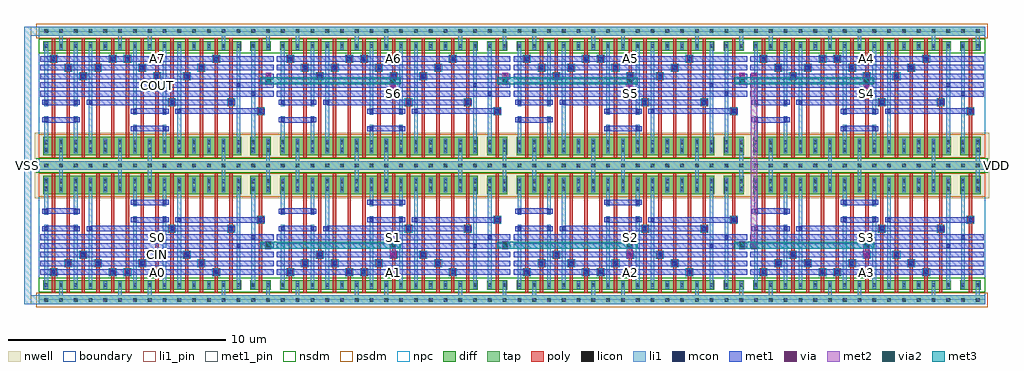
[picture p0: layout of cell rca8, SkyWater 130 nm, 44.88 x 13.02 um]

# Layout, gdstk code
import gdstk
lib = gdstk.Library(unit=1e-6, precision=1e-09)
def R(c, l, rs):  # rectangles x0, y0, x1, y1
    for r in rs: c.add(gdstk.rectangle(r[:2], r[2:], *l))
def A(c, l, x, y, w, h, nx, ny, dx, dy):  # array of equal rectangles
    R(c, l, [(x+i*dx, y+j*dy, x+i*dx+w, y+j*dy+h) for i in range(nx) for j in range(ny)])
nwell = (64, 20)
diff = (65, 20)
tap = (65, 44)
poly = (66, 20)
licon = (66, 44)
li1_pin = (67, 16)
li1 = (67, 20)
mcon = (67, 44)
met1_pin = (68, 16)
met1 = (68, 20)
via = (68, 44)
met2 = (69, 20)
via2 = (69, 44)
met3 = (70, 20)
nsdm = (93, 44)
psdm = (94, 20)
npc = (95, 20)
boundary = (235, 4)

c_fa = lib.new_cell('fa')
R(c_fa, nwell, [(-0.18,4.685,11.06,6.565)])
R(c_fa, diff, [(0.215,0.475,9.305,0.895), (9.735,0.475,10.665,0.895), (0.215,4.865,9.305,5.705), (9.735,4.865,10.665,5.705)])
R(c_fa, tap, [(0,-0.205,10.88,0.205), (0,5.975,10.88,6.385)])
A(c_fa, poly, 0.605, 0.345, 0.15, 0.68, 13, 1, 0.68, 0)
A(c_fa, poly, 0.605, 1.025, 0.15, 3.71, 13, 1, 0.68, 0)
A(c_fa, poly, 0.605, 4.735, 0.15, 1.1, 13, 1, 0.68, 0)
R(c_fa, poly, [(10.125,0.345,10.275,1.025), (10.125,1.025,10.275,4.735), (0.545,1.115,0.815,1.445), (3.265,1.115,3.535,1.445), (3.945,1.115,4.215,1.445), (8.025,1.115,8.295,1.445), (1.225,1.515,1.495,1.845), (2.585,1.515,2.855,1.845), (4.625,1.515,4.895,1.845), (7.345,1.515,7.615,1.845), (1.905,1.915,2.175,2.245), (5.305,1.915,5.575,2.245), (6.665,1.915,6.935,2.245), (5.985,3.115,6.255,3.445), (8.705,3.115,8.975,3.445), (10.065,3.515,10.335,3.845), (10.125,4.735,10.275,5.835)])
A(c_fa, licon, 0.255, -0.085, 0.17, 0.17, 16, 2, 0.68, 0.685)
A(c_fa, licon, 0.255, 5.03, 0.17, 0.17, 16, 2, 0.68, 0.34)
A(c_fa, licon, 0.255, 6.095, 0.17, 0.17, 16, 1, 0.68, 0)
R(c_fa, licon, [(0.595,1.195,0.765,1.365), (3.315,1.195,3.485,1.365), (3.995,1.195,4.165,1.365), (8.075,1.195,8.245,1.365), (1.275,1.595,1.445,1.765), (2.635,1.595,2.805,1.765), (4.675,1.595,4.845,1.765), (7.395,1.595,7.565,1.765), (1.955,1.995,2.125,2.165), (5.355,1.995,5.525,2.165), (6.715,1.995,6.885,2.165), (6.035,3.195,6.205,3.365), (8.755,3.195,8.925,3.365), (10.115,3.595,10.285,3.765)])
R(c_fa, li1_pin, [(0,-0.205,10.88,0.205), (0,5.975,10.88,6.385)])
A(c_fa, li1, 0.255, 0.52, 0.17, 0.33, 16, 1, 0.68, 0)
A(c_fa, li1, 0.255, 4.95, 0.17, 0.67, 16, 1, 0.68, 0)
R(c_fa, li1, [(0,-0.205,10.88,0.205), (0.935,0,1.105,0.52), (3.655,0,3.825,0.52), (5.015,0,5.185,0.52), (8.415,0,8.585,0.52), (10.455,0,10.625,0.52), (0.255,0.85,0.425,3.28), (1.615,0.85,1.785,3.28), (2.295,0.85,2.465,3.28), (4.335,0.85,4.505,3.68), (5.695,0.85,5.865,3.68), (6.375,0.85,6.545,3.68), (9.095,0.85,9.265,2.48), (9.775,0.85,9.945,2.88), (0.595,1.115,0.765,1.445), (3.315,1.115,3.485,1.445), (3.995,1.115,4.165,1.445), (8.075,1.115,8.245,1.445), (1.275,1.515,1.445,1.845), (2.635,1.515,2.805,1.845), (4.675,1.515,4.845,1.845), (7.395,1.515,7.565,1.845), (1.955,1.915,2.125,2.245), (5.355,1.915,5.525,2.245), (6.715,1.915,6.885,2.245), (9.095,2.315,9.265,2.645), (9.095,2.315,9.265,2.645), (9.095,2.48,9.265,4.95), (9.775,2.715,9.945,3.045), (9.775,2.715,9.945,3.045), (9.775,2.88,9.945,4.95), (0.255,3.115,0.425,3.445), (1.615,3.115,1.785,3.445), (2.295,3.115,2.465,3.445), (2.295,3.115,2.465,3.445), (6.035,3.115,6.205,3.445), (8.755,3.115,8.925,3.445), (2.295,3.28,2.465,4.95), (4.335,3.515,4.505,3.845), (5.695,3.515,5.865,3.845), (6.375,3.515,6.545,3.845), (6.375,3.515,6.545,3.845), (10.115,3.515,10.285,3.845), (6.375,3.68,6.545,4.95), (0.255,3.915,0.425,4.245), (1.615,3.915,1.785,4.245), (0.255,4.08,0.425,4.95), (1.615,4.08,1.785,4.95), (4.335,4.315,4.505,4.645), (5.695,4.315,5.865,4.645), (4.335,4.48,4.505,4.95), (5.695,4.48,5.865,4.95), (0.935,5.62,1.105,6.18), (3.655,5.62,3.825,6.18), (5.015,5.62,5.185,6.18), (8.415,5.62,8.585,6.18), (10.455,5.62,10.625,6.18), (0,5.975,10.88,6.385)])
R(c_fa, mcon, [(0.595,1.195,0.765,1.365), (3.315,1.195,3.485,1.365), (3.995,1.195,4.165,1.365), (8.075,1.195,8.245,1.365), (1.275,1.595,1.445,1.765), (2.635,1.595,2.805,1.765), (4.675,1.595,4.845,1.765), (7.395,1.595,7.565,1.765), (1.955,1.995,2.125,2.165), (5.355,1.995,5.525,2.165), (6.715,1.995,6.885,2.165), (9.095,2.395,9.265,2.565), (9.095,2.395,9.265,2.565), (9.775,2.795,9.945,2.965), (9.775,2.795,9.945,2.965), (0.255,3.195,0.425,3.365), (1.615,3.195,1.785,3.365), (2.295,3.195,2.465,3.365), (2.295,3.195,2.465,3.365), (6.035,3.195,6.205,3.365), (8.755,3.195,8.925,3.365), (4.335,3.595,4.505,3.765), (5.695,3.595,5.865,3.765), (6.375,3.595,6.545,3.765), (6.375,3.595,6.545,3.765), (10.115,3.595,10.285,3.765), (0.255,3.995,0.425,4.165), (1.615,3.995,1.785,4.165), (4.335,4.395,4.505,4.565), (5.695,4.395,5.865,4.565)])
A(c_fa, met1_pin, 0.07, 1.15, 10.74, 0.26, 1, 5, 0, 0.4)
A(c_fa, met1, 0.07, 1.15, 10.74, 0.26, 1, 5, 0, 0.4)
R(c_fa, met1, [(0.495,1.165,0.865,1.395), (3.215,1.165,3.585,1.395), (3.895,1.165,4.265,1.395), (7.975,1.165,8.345,1.395), (1.175,1.565,1.545,1.795), (2.535,1.565,2.905,1.795), (4.575,1.565,4.945,1.795), (7.295,1.565,7.665,1.795), (1.855,1.965,2.225,2.195), (5.255,1.965,5.625,2.195), (6.615,1.965,6.985,2.195), (8.995,2.365,9.365,2.595), (8.995,2.365,9.365,2.595), (9.675,2.765,10.045,2.995), (9.675,2.765,10.045,2.995), (0.34,3.15,1.7,3.41), (2.38,3.15,8.84,3.41), (0.155,3.165,0.525,3.395), (1.515,3.165,1.885,3.395), (2.195,3.165,2.565,3.395), (2.195,3.165,2.565,3.395), (5.935,3.165,6.305,3.395), (8.655,3.165,9.025,3.395), (4.42,3.55,5.78,3.81), (6.46,3.55,10.2,3.81), (4.235,3.565,4.605,3.795), (5.595,3.565,5.965,3.795), (6.275,3.565,6.645,3.795), (6.275,3.565,6.645,3.795), (10.015,3.565,10.385,3.795), (0.34,3.95,1.7,4.21), (0.155,3.965,0.525,4.195), (1.515,3.965,1.885,4.195), (4.42,4.35,5.78,4.61), (4.235,4.365,4.605,4.595), (5.595,4.365,5.965,4.595)])
R(c_fa, nsdm, [(0,0.35,10.88,1.02), (-0.125,5.85,11.005,6.51)])
R(c_fa, psdm, [(-0.125,-0.33,11.005,0.33), (0,4.74,10.88,5.83)])
R(c_fa, npc, [(0.495,1.095,0.865,1.465), (3.215,1.095,3.585,1.465), (3.895,1.095,4.265,1.465), (7.975,1.095,8.345,1.465), (1.175,1.495,1.545,1.865), (2.535,1.495,2.905,1.865), (4.575,1.495,4.945,1.865), (7.295,1.495,7.665,1.865), (1.855,1.895,2.225,2.265), (5.255,1.895,5.625,2.265), (6.615,1.895,6.985,2.265), (5.935,3.095,6.305,3.465), (8.655,3.095,9.025,3.465), (10.015,3.495,10.385,3.865)])
R(c_fa, boundary, [(0,0,10.88,6.18)])
c_fa.add(gdstk.Label('VSS', (5.44,0), layer=67, texttype=16))
c_fa.add(gdstk.Label('VDD', (5.44,6.18), layer=67, texttype=16))
c_fa.add(gdstk.Label('VSS', (5.44,0), layer=67, texttype=5))
c_fa.add(gdstk.Label('VDD', (5.44,6.18), layer=67, texttype=5))
c_fa.add(gdstk.Label('COUT', (5.44,2.48), layer=68, texttype=16))
c_fa.add(gdstk.Label('SUM', (5.44,2.88), layer=68, texttype=16))
c_fa.add(gdstk.Label('A', (5.44,1.28), layer=68, texttype=16))
c_fa.add(gdstk.Label('B', (5.44,1.68), layer=68, texttype=16))
c_fa.add(gdstk.Label('CIN', (5.44,2.08), layer=68, texttype=16))
c_fa.add(gdstk.Label('COUT', (5.44,2.48), layer=68, texttype=5))
c_fa.add(gdstk.Label('SUM', (5.44,2.88), layer=68, texttype=5))
c_fa.add(gdstk.Label('A', (5.44,1.28), layer=68, texttype=5))
c_fa.add(gdstk.Label('B', (5.44,1.68), layer=68, texttype=5))
c_fa.add(gdstk.Label('CIN', (5.44,2.08), layer=68, texttype=5))

rca8 = lib.new_cell('rca8')
R(rca8, li1_pin, [(-0.68,-0.205,-0.34,12.565), (43.86,5.975,44.2,6.385)])
R(rca8, li1, [(-0.68,-0.205,-0.34,12.565), (-0.68,-0.205,0,0.205), (43.52,5.975,44.2,6.385), (43.86,5.975,44.2,6.385), (-0.68,12.155,0,12.565)])
A(rca8, met1_pin, 0.07, 1.15, 10.74, 0.26, 4, 2, 10.88, 0.4)
A(rca8, met1_pin, 0.07, 2.75, 10.74, 0.26, 4, 2, 10.88, 6.6)
A(rca8, met1_pin, 0.07, 10.55, 10.74, 0.26, 4, 2, 10.88, 0.4)
R(rca8, met1_pin, [(0.07,1.95,10.81,2.21), (0.07,9.75,10.81,10.01)])
A(rca8, met1, 16.12, 1.95, 0.32, 0.26, 3, 2, 10.89, 7.8)
A(rca8, met1, 10.4, 2.35, 0.32, 0.26, 3, 2, 10.89, 7.8)
R(rca8, met1, [(32.73,2.35,33.05,2.61), (32.73,10.15,33.05,10.41)])
A(rca8, via, 16.205, 2.005, 0.15, 0.15, 3, 2, 10.89, 7.8)
A(rca8, via, 10.485, 2.405, 0.15, 0.15, 3, 2, 10.89, 7.8)
R(rca8, via, [(32.815,2.405,32.965,2.555), (32.815,10.205,32.965,10.355)])
A(rca8, met2, 16.15, 1.92, 0.26, 0.32, 3, 2, 10.89, 7.8)
A(rca8, met2, 16.14, 2.08, 0.28, 0.44, 3, 1, 10.89, 0)
A(rca8, met2, 10.43, 2.32, 0.26, 0.32, 3, 2, 10.89, 7.8)
A(rca8, met2, 10.42, 2.48, 0.28, 0.04, 3, 1, 10.89, 0)
A(rca8, met2, 16.14, 9.88, 0.28, 0.2, 3, 1, 10.89, 0)
A(rca8, met2, 10.42, 10.08, 0.28, 0.2, 3, 1, 10.89, 0)
R(rca8, met2, [(32.76,2.32,33.02,2.64), (10.42,2.335,10.7,2.705), (16.14,2.335,16.42,2.705), (21.31,2.335,21.59,2.705), (27.03,2.335,27.31,2.705), (32.2,2.335,32.48,2.705), (37.92,2.335,38.2,2.705), (32.75,2.48,33.03,10.28), (10.42,9.895,10.7,10.265), (16.14,9.895,16.42,10.265), (21.31,9.895,21.59,10.265), (27.03,9.895,27.31,10.265), (32.2,9.895,32.48,10.265), (37.92,9.895,38.2,10.265), (32.76,10.12,33.02,10.44)])
R(rca8, via2, [(10.46,2.42,10.66,2.62), (16.18,2.42,16.38,2.62), (21.35,2.42,21.55,2.62), (27.07,2.42,27.27,2.62), (32.24,2.42,32.44,2.62), (37.96,2.42,38.16,2.62), (10.46,9.98,10.66,10.18), (16.18,9.98,16.38,10.18), (21.35,9.98,21.55,10.18), (27.07,9.98,27.27,10.18), (32.24,9.98,32.44,10.18), (37.96,9.98,38.16,10.18)])
A(rca8, met3, 10.56, 2.355, 5.72, 0.33, 3, 2, 10.89, 7.56)
R(rca8, met3, [(10.195,2.355,10.925,2.685), (15.915,2.355,16.645,2.685), (21.085,2.355,21.815,2.685), (26.805,2.355,27.535,2.685), (31.975,2.355,32.705,2.685), (37.695,2.355,38.425,2.685), (10.195,9.915,10.925,10.245), (15.915,9.915,16.645,10.245), (21.085,9.915,21.815,10.245), (26.805,9.915,27.535,10.245), (31.975,9.915,32.705,10.245), (37.695,9.915,38.425,10.245)])
rca8.add(gdstk.Reference(c_fa, (0,0)))
rca8.add(gdstk.Reference(c_fa, (10.88,0)))
rca8.add(gdstk.Reference(c_fa, (21.76,0)))
rca8.add(gdstk.Reference(c_fa, (32.64,0)))
rca8.add(gdstk.Reference(c_fa, (0,12.36), x_reflection=True))
rca8.add(gdstk.Reference(c_fa, (10.88,12.36), x_reflection=True))
rca8.add(gdstk.Reference(c_fa, (21.76,12.36), x_reflection=True))
rca8.add(gdstk.Reference(c_fa, (32.64,12.36), x_reflection=True))
rca8.add(gdstk.Label('VSS', (-0.51,6.18), layer=67, texttype=16))
rca8.add(gdstk.Label('VDD', (44.03,6.18), layer=67, texttype=16))
rca8.add(gdstk.Label('VSS', (-0.51,6.18), layer=67, texttype=5))
rca8.add(gdstk.Label('VDD', (44.03,6.18), layer=67, texttype=5))
rca8.add(gdstk.Label('A0', (5.44,1.28), layer=68, texttype=16))
rca8.add(gdstk.Label('A1', (16.32,1.28), layer=68, texttype=16))
rca8.add(gdstk.Label('A2', (27.2,1.28), layer=68, texttype=16))
rca8.add(gdstk.Label('A3', (38.08,1.28), layer=68, texttype=16))
rca8.add(gdstk.Label('A4', (38.08,11.08), layer=68, texttype=16))
rca8.add(gdstk.Label('A5', (27.2,11.08), layer=68, texttype=16))
rca8.add(gdstk.Label('A6', (16.32,11.08), layer=68, texttype=16))
rca8.add(gdstk.Label('A7', (5.44,11.08), layer=68, texttype=16))
rca8.add(gdstk.Label('B0', (5.44,1.68), layer=68, texttype=16))
rca8.add(gdstk.Label('B1', (16.32,1.68), layer=68, texttype=16))
rca8.add(gdstk.Label('B2', (27.2,1.68), layer=68, texttype=16))
rca8.add(gdstk.Label('B3', (38.08,1.68), layer=68, texttype=16))
rca8.add(gdstk.Label('B4', (38.08,10.68), layer=68, texttype=16))
rca8.add(gdstk.Label('B5', (27.2,10.68), layer=68, texttype=16))
rca8.add(gdstk.Label('B6', (16.32,10.68), layer=68, texttype=16))
rca8.add(gdstk.Label('B7', (5.44,10.68), layer=68, texttype=16))
rca8.add(gdstk.Label('CIN', (5.44,2.08), layer=68, texttype=16))
rca8.add(gdstk.Label('COUT', (5.44,9.88), layer=68, texttype=16))
rca8.add(gdstk.Label('S0', (5.44,2.88), layer=68, texttype=16))
rca8.add(gdstk.Label('S1', (16.32,2.88), layer=68, texttype=16))
rca8.add(gdstk.Label('S2', (27.2,2.88), layer=68, texttype=16))
rca8.add(gdstk.Label('S3', (38.08,2.88), layer=68, texttype=16))
rca8.add(gdstk.Label('S4', (38.08,9.48), layer=68, texttype=16))
rca8.add(gdstk.Label('S5', (27.2,9.48), layer=68, texttype=16))
rca8.add(gdstk.Label('S6', (16.32,9.48), layer=68, texttype=16))
rca8.add(gdstk.Label('S7', (5.44,9.48), layer=68, texttype=16))
rca8.add(gdstk.Label('A0', (5.44,1.28), layer=68, texttype=5))
rca8.add(gdstk.Label('A1', (16.32,1.28), layer=68, texttype=5))
rca8.add(gdstk.Label('A2', (27.2,1.28), layer=68, texttype=5))
rca8.add(gdstk.Label('A3', (38.08,1.28), layer=68, texttype=5))
rca8.add(gdstk.Label('A4', (38.08,11.08), layer=68, texttype=5))
rca8.add(gdstk.Label('A5', (27.2,11.08), layer=68, texttype=5))
rca8.add(gdstk.Label('A6', (16.32,11.08), layer=68, texttype=5))
rca8.add(gdstk.Label('A7', (5.44,11.08), layer=68, texttype=5))
rca8.add(gdstk.Label('B0', (5.44,1.68), layer=68, texttype=5))
rca8.add(gdstk.Label('B1', (16.32,1.68), layer=68, texttype=5))
rca8.add(gdstk.Label('B2', (27.2,1.68), layer=68, texttype=5))
rca8.add(gdstk.Label('B3', (38.08,1.68), layer=68, texttype=5))
rca8.add(gdstk.Label('B4', (38.08,10.68), layer=68, texttype=5))
rca8.add(gdstk.Label('B5', (27.2,10.68), layer=68, texttype=5))
rca8.add(gdstk.Label('B6', (16.32,10.68), layer=68, texttype=5))
rca8.add(gdstk.Label('B7', (5.44,10.68), layer=68, texttype=5))
rca8.add(gdstk.Label('CIN', (5.44,2.08), layer=68, texttype=5))
rca8.add(gdstk.Label('COUT', (5.44,9.88), layer=68, texttype=5))
rca8.add(gdstk.Label('S0', (5.44,2.88), layer=68, texttype=5))
rca8.add(gdstk.Label('S1', (16.32,2.88), layer=68, texttype=5))
rca8.add(gdstk.Label('S2', (27.2,2.88), layer=68, texttype=5))
rca8.add(gdstk.Label('S3', (38.08,2.88), layer=68, texttype=5))
rca8.add(gdstk.Label('S4', (38.08,9.48), layer=68, texttype=5))
rca8.add(gdstk.Label('S5', (27.2,9.48), layer=68, texttype=5))
rca8.add(gdstk.Label('S6', (16.32,9.48), layer=68, texttype=5))
rca8.add(gdstk.Label('S7', (5.44,9.48), layer=68, texttype=5))

lib.write_gds('rca8.gds')
